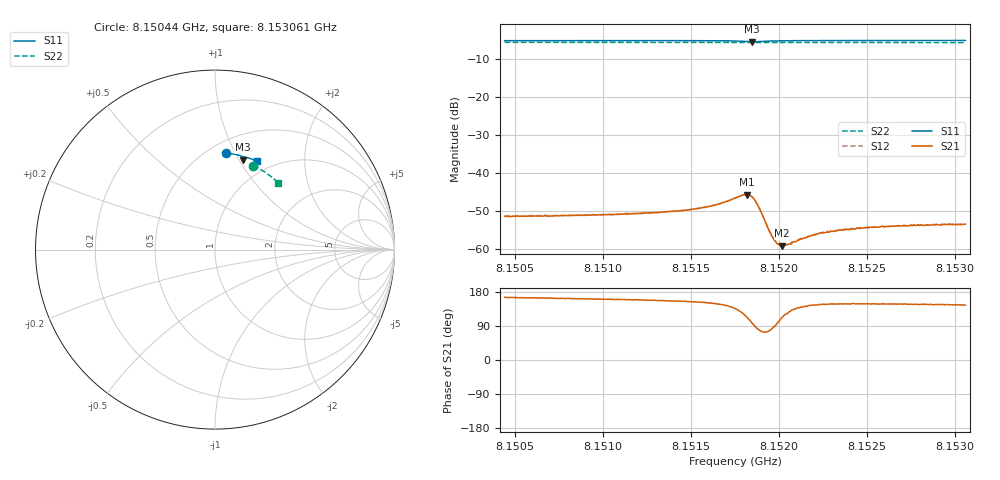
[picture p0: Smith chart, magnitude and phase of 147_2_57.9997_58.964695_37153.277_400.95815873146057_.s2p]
#  HZ  S  RI  R  50.00
! Rohde & Schwarz Vector Network Analyzer
! Rohde-Schwarz,ZNB20-2Port,1311601062101988,3.16
! Created: UTC 3/21/2024, 12:56:52 AM
! freq[Hz]  re:S11  im:S11  re:S21  im:S21  re:S12  im:S12  re:S22  im:S22
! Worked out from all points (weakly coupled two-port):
!   401 points, 8.15044 GHz to 8.153061 GHz, reference 50 ohm
!   highest |S21| = -45.68 dB at 8.151816 GHz (marker M1); lowest = -59.0 dB at 8.152019 GHz (marker M2)
!   lowest |S11| = -5.6 dB at 8.151849 GHz (marker M3), VSWR 3.20, Z = 37.5 + j51.8 ohm
!   |S11| at or under -10 dB: nowhere
!   |S22| runs from -5.8 to -5.8 dB; largest |S21 - S12| = 0.00012
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8.1504399e9  0.0628 0.5377  -0.0026 0.000683  -0.00263 0.000762  0.2141 0.4685
8.1508789e9  0.0935 0.5339  -0.00266 0.00088  -0.00265 0.000929  0.2392 0.4556
8.1513179e9  0.1249 0.5279  -0.0028 0.00118  -0.00278 0.0012  0.2638 0.4411
8.1514293e9  0.1329 0.5259  -0.00288 0.00133  -0.00291 0.00136  0.2699 0.4374
8.1515865e9  0.1451 0.522  -0.00315 0.00172  -0.00313 0.00178  0.2784 0.4317
8.1516783e9  0.1529 0.5182  -0.00336 0.00226  -0.00336 0.00234  0.2833 0.4284
8.1517504e9  0.1589 0.5125  -0.00336 0.00325  -0.00333 0.00331  0.287 0.4255
8.1518159e9  0.1589 0.503  -0.00212 0.00475  -0.00206 0.00482  0.29 0.4228
8.1518486e9  0.1537 0.5007  -0.000568 0.00478  -0.000518 0.00482  0.2915 0.4216
8.1518814e9  0.1493 0.5042  0.000573 0.00368  0.000648 0.00372  0.2931 0.4206
8.1519469e9  0.1528 0.5129  0.000364 0.00168  0.000381 0.00164  0.2965 0.4186
8.1519666e9  0.155 0.5141  0.000119 0.00141  0.000139 0.0014  0.2977 0.4179
8.1519797e9  0.1564 0.5148  -2.34e-05 0.00128  1.81e-05 0.00127  0.2982 0.4174
8.1519993e9  0.1586 0.5152  -0.000238 0.00114  -0.00019 0.00113  0.2995 0.4168
8.152019e9  0.1605 0.5154  -0.000441 0.00103  -0.000408 0.00107  0.3004 0.4158
8.1520583e9  0.1646 0.5155  -0.000704 0.000929  -0.000686 0.000948  0.3025 0.4143
8.1521173e9  0.1699 0.5149  -0.00101 0.000902  -0.000986 0.000877  0.3056 0.412
8.1521894e9  0.1758 0.5137  -0.00124 0.000882  -0.00122 0.000905  0.3093 0.4092
8.1522614e9  0.1812 0.5122  -0.00138 0.00091  -0.00141 0.000937  0.3129 0.4064
8.1523466e9  0.1874 0.5105  -0.00153 0.000945  -0.00152 0.000982  0.3171 0.4029
8.1526284e9  0.207 0.5038  -0.00168 0.00106  -0.0017 0.00106  0.3309 0.3911
8.1530608e9  0.2351 0.492  -0.00173 0.00122  -0.00175 0.00124  0.3511 0.3724
